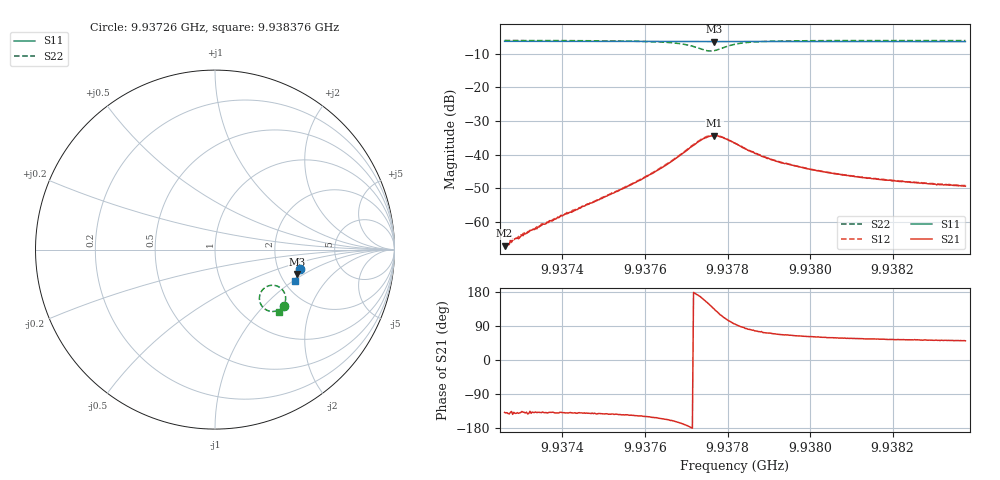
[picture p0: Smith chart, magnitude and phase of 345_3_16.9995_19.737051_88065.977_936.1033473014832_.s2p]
#  HZ  S  RI  R  50.00
! Rohde & Schwarz Vector Network Analyzer
! Rohde-Schwarz,ZNB20-2Port,1311601062101988,3.16
! Created: UTC 3/20/2024, 11:07:36 PM
! freq[Hz]  re:S11  im:S11  re:S21  im:S21  re:S12  im:S12  re:S22  im:S22
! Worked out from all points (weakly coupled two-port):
!   401 points, 9.93726 GHz to 9.938376 GHz, reference 50 ohm
!   highest |S21| = -34.31 dB at 9.937768 GHz (marker M1); lowest = -67.0 dB at 9.93726 GHz (marker M2)
!   lowest |S11| = -6.4 dB at 9.937768 GHz (marker M3), VSWR 2.84, Z = 124 - j44.2 ohm
!   |S11| at or under -10 dB: nowhere
!   |S22| runs from -9.2 to -6.1 dB; largest |S21 - S12| = 0.00097
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9.9372598e9  0.472 -0.1055  -0.000334 -0.000297  -0.000345 -0.000272  0.3864 -0.3143
9.9372709e9  0.4716 -0.1063  -0.000368 -0.000284  -0.000403 -0.000296  0.3854 -0.315
9.9372793e9  0.4715 -0.1069  -0.000435 -0.000323  -0.000412 -0.000391  0.3846 -0.3158
9.9373044e9  0.4711 -0.1085  -0.000464 -0.000423  -0.000526 -0.000429  0.3829 -0.3174
9.9373686e9  0.4699 -0.113  -0.000781 -0.000705  -0.000768 -0.000664  0.3774 -0.3221
9.9374468e9  0.4682 -0.1181  -0.0013 -0.00111  -0.00132 -0.00105  0.369 -0.3287
9.9375557e9  0.4657 -0.1254  -0.00271 -0.00193  -0.00282 -0.00192  0.351 -0.3385
9.937592e9  0.4647 -0.1278  -0.00365 -0.00231  -0.0038 -0.00228  0.3415 -0.3418
9.9376339e9  0.4636 -0.1307  -0.00543 -0.00268  -0.0056 -0.00263  0.3254 -0.3446
9.9376981e9  0.4614 -0.1349  -0.0111 -0.00172  -0.0114 -0.00152  0.2785 -0.3314
9.9377372e9  0.4599 -0.1368  -0.0161 0.0046  -0.0163 0.00541  0.2477 -0.2753
9.9377539e9  0.4594 -0.1371  -0.0158 0.0097  -0.0158 0.0105  0.2569 -0.2355
9.9377679e9  0.459 -0.1376  -0.0134 0.0138  -0.0131 0.0144  0.2827 -0.2093
9.9377902e9  0.4594 -0.1386  -0.00694 0.0165  -0.00655 0.0168  0.3349 -0.2002
9.9378181e9  0.4595 -0.1404  -0.00125 0.0147  -0.000802 0.0148  0.3759 -0.224
9.9378572e9  0.459 -0.1433  0.00205 0.011  0.00225 0.011  0.3925 -0.2594
9.9378991e9  0.458 -0.1464  0.00287 0.00842  0.00305 0.00831  0.3933 -0.283
9.9379326e9  0.4574 -0.1486  0.00298 0.00696  0.00315 0.00698  0.3904 -0.2953
9.9380052e9  0.4554 -0.1534  0.00287 0.00526  0.00298 0.00527  0.3835 -0.3115
9.9380833e9  0.4534 -0.1587  0.00266 0.00424  0.00277 0.0042  0.3765 -0.323
9.9381922e9  0.4505 -0.1656  0.00245 0.00341  0.0025 0.00338  0.3679 -0.3341
9.9383765e9  0.4453 -0.1775  0.00217 0.00264  0.00226 0.00267  0.3553 -0.3475
